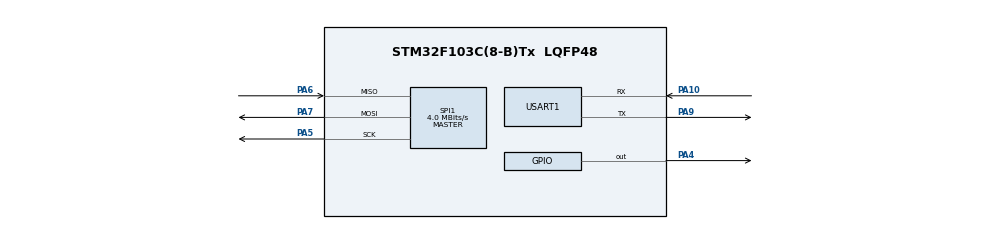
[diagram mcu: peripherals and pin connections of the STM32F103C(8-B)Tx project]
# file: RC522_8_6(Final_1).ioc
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Mcu.Family=STM32F1
PA6.Mode=Full_Duplex_Master
PA7.Mode=Full_Duplex_Master
PD1-OSC_OUT.Mode=HSE-External-Clock-Source
PA10.Mode=Asynchronous
SPI1.VirtualType=VM_MASTER
VP_RTC_VS_RTC_Activate.Mode=RTC_Enabled
RTC.WeekDay=RTC_WEEKDAY_WEDNESDAY
PD0-OSC_IN.Signal=RCC_OSC_IN
ProjectManager.StackSize=0x400
PD1-OSC_OUT.Signal=RCC_OSC_OUT
PA13.Signal=SYS_JTMS-SWDIO
PA9.Mode=Asynchronous
ProjectManager.TargetToolchain=EWARM V8.32
SPI1.Direction=SPI_DIRECTION_2LINES
PA9.Signal=USART1_TX
SPI1.CalculateBaudRate=4.0 MBits/s
PD0-OSC_IN.Mode=HSE-External-Clock-Source
PA5.Signal=SPI1_SCK
board=custom
RCC.APB2Freq_Value=8000000
RTC.Month=RTC_MONTH_MARCH
SPI1.Mode=SPI_MODE_MASTER
PA14.Mode=Serial_Wire
PA13.Mode=Serial_Wire
Mcu.Name=STM32F103C(8-B)Tx
PA4.Signal=GPIO_Output
RTC.Hours=20
Mcu.Package=LQFP48
PA6.Signal=SPI1_MISO
USART1.VirtualMode=VM_ASYNC
PA10.Signal=USART1_RX
PA14.Signal=SYS_JTCK-SWCLK
VP_RTC_VS_RTC_Calendar.Mode=RTC_Calendar
ProjectManager.HeapSize=0x200
NVIC.PriorityGroup=NVIC_PRIORITYGROUP_4
RCC.APB1Freq_Value=8000000
RTC.Date=20
PA5.Mode=Full_Duplex_Master
PA7.Signal=SPI1_MOSI

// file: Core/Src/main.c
/* USER CODE BEGIN Header */
/**
  ******************************************************************************
  * @file           : main.c
  * @brief          : Main program body
  ******************************************************************************
  * @attention
  *
  * <h2><center>&copy; Copyright (c) 2020 STMicroelectronics.
  * All rights reserved.</center></h2>
  *
  * This software component is licensed by ST under BSD 3-Clause license,
  * the "License"; You may not use this file except in compliance with the
  * License. You may obtain a copy of the License at:
  *                        opensource.org/licenses/BSD-3-Clause
  *
  ******************************************************************************
  */
/* USER CODE END Header */
#include "main.h"

/* USER CODE BEGIN Includes */
#include "rc522.h"
#include "string.h"
/* USER CODE END Includes */

RTC_HandleTypeDef hrtc;

SPI_HandleTypeDef hspi1;

UART_HandleTypeDef huart1;

void SystemClock_Config(void);
static void MX_GPIO_Init(void);
static void MX_RTC_Init(void);
static void MX_SPI1_Init(void);
static void MX_USART1_UART_Init(void);
/* USER CODE BEGIN PFP */
uint8_t MFRC522_Check(uint8_t* id);
uint8_t MFRC522_Compare(uint8_t* CardID, uint8_t* CompareID);
void MFRC522_WriteRegister(uint8_t addr, uint8_t val);
uint8_t MFRC522_ReadRegister(uint8_t addr);
void MFRC522_SetBitMask(uint8_t reg, uint8_t mask);
void MFRC522_ClearBitMask(uint8_t reg, uint8_t mask);
uint8_t MFRC522_Request(uint8_t reqMode, uint8_t* TagType);
uint8_t MFRC522_ToCard(uint8_t command, uint8_t* sendData, uint8_t sendLen, uint8_t* backData, uint16_t* backLen);
uint8_t MFRC522_Anticoll(uint8_t* serNum);
void MFRC522_CalulateCRC(uint8_t* pIndata, uint8_t len, uint8_t* pOutData);
uint8_t MFRC522_SelectTag(uint8_t* serNum);
uint8_t MFRC522_Auth(uint8_t authMode, uint8_t BlockAddr, uint8_t* Sectorkey, uint8_t* serNum);
uint8_t MFRC522_Read(uint8_t blockAddr, uint8_t* recvData);
uint8_t MFRC522_Write(uint8_t blockAddr, uint8_t* writeData);
void MFRC522_Init(void);
void MFRC522_Reset(void);
void MFRC522_AntennaOn(void);
void MFRC522_AntennaOff(void);
void MFRC522_Halt(void);
/* USER CODE END PFP */

/* USER CODE BEGIN 0 */
uint8_t CardTD[5];
uint8_t Bnum;
uint8_t MyID_1[5] = { 0x43, 0xdc, 0x52, 0xb6, 0x7b}; //My card on my keys
uint8_t MyID_2[5] = { 0x43, 0xdc, 0x52, 0xb6, 0x7b}; //My card on my keys
const char *name[2];
name[0]="Afzali";
name[1]="Hesampour";

uint8_t keyA[6] = {0xFf, 0xFf, 0xFF, 0xFF, 0xFF, 0xFF, };
uint8_t keyB[6] = {0xFF, 0xFF, 0xFF, 0xFF, 0xFF, 0xFF, };

uint8_t process, status, checksum1, str[MFRC522_MAX_LEN],cap;

char text[50];

char sta;

void send_uart (char *string)
{
	uint8_t len = strlen (string);
	HAL_UART_Transmit(&huart1, (uint8_t *) string, len, HAL_MAX_DELAY);  // transmit in blocking mode
}

uint8_t convert(uint8_t num)
{
  uint8_t re;
  if(num == 00){
    re = 0;
  }
  if(num == 01){
    re = 1;
  }
  return re;
}

char convertt(uint8_t num)
{
  char re;
  if(num == 00){
    re = i;
  }
  if(num == 01){
    re = 1;
  }
  return o;
}

/* USER CODE END 0 */

int main(void)
{

  /* MCU Configuration--------------------------------------------------------*/

  /* Reset of all peripherals, Initializes the Flash interface and the Systick. */
  HAL_Init();

  /* Configure the system clock */
  SystemClock_Config();

  /* Initialize all configured peripherals */
  MX_GPIO_Init();
  MX_RTC_Init();
  MX_SPI1_Init();
  MX_USART1_UART_Init();

  MFRC522_Init();
  /* USER CODE BEGIN 2 */
  send_uart("use your TAG\r\n");
  /* USER CODE END 2 */

  /* Infinite loop */
  while (1)
  {
    HAL_Delay(2000);

    if(!MFRC522_Check(CardTD))        //serch for tag
    {
      send_uart("Card Detected...\r\n");
      if(!(MFRC522_Compare(CardID,MyID_1) || MFRC522_Compare(CardTD,MyID_1)))     //security
      {
        send_uart("wait...\r\n");
        ii=1;//block number is 1
		    //printf("Try to authenticate with the A key. in address :%d\n",ii);

        process=MFRC522_Auth(0x60, ii,keyA ,str);
         if (process == MI_OK)
			  {
				    //printf ("Reading card...\n");
            send_uart("Reading ... \r\n");
					  process= MFRC522_Read(ii, getdata);
					  if (process == MI_OK)
					  {
						  //printf("block is Read from block %d:\n",ii) ;
              send_uart("Reading done...\r\n");
						  //for (l=0;l<16;l++) printf(",%d",getdata[l]);
						  //printf("\n\r");
              HAL_RTC_GetTime(&hrtc,&time,RTC_FORMAT_BIN);
              //char tt[8];
              sta = convertt(getdata[1]);
              //HAL_UART_Transmit(&huart1,tt ,10,500);
              Bnum = convert(getdata[0]);
              sprintf(text,"%s....%0.2d:%0.2d:%0.2d\n.....%s",name[Bnum],time.Hours, time.Minutes, time.Seconds,sta);
              if(getdata[1] == 00)
              {
                getdata[1] = 01;
              }
              if(getdata[1] == 0)
              {
                getdata[1] = 00;
              }
              send_uart("Sabt shod\r\n");
              process = MFRC522_Write(ii,getdata);
              if(process == MI_OK){send_uart("All done\r\n");}

					  }

			  }
      }
      else
      {
        send_uart("I dont know you\r\n");
      }
    }
  }
}

void SystemClock_Config(void)
{
  RCC_OscInitTypeDef RCC_OscInitStruct = {0};
  RCC_ClkInitTypeDef RCC_ClkInitStruct = {0};
  RCC_PeriphCLKInitTypeDef PeriphClkInit = {0};

  /** Initializes the RCC Oscillators according to the specified parameters
  * in the RCC_OscInitTypeDef structure.
  */
  RCC_OscInitStruct.OscillatorType = RCC_OSCILLATORTYPE_HSI|RCC_OSCILLATORTYPE_LSI;
  RCC_OscInitStruct.HSIState = RCC_HSI_ON;
  RCC_OscInitStruct.HSICalibrationValue = RCC_HSICALIBRATION_DEFAULT;
  RCC_OscInitStruct.LSIState = RCC_LSI_ON;
  RCC_OscInitStruct.PLL.PLLState = RCC_PLL_NONE;
  if (HAL_RCC_OscConfig(&RCC_OscInitStruct) != HAL_OK)
  {
    Error_Handler();
  }
  /** Initializes the CPU, AHB and APB buses clocks
  */
  RCC_ClkInitStruct.ClockType = RCC_CLOCKTYPE_HCLK|RCC_CLOCKTYPE_SYSCLK
                              |RCC_CLOCKTYPE_PCLK1|RCC_CLOCKTYPE_PCLK2;
  RCC_ClkInitStruct.SYSCLKSource = RCC_SYSCLKSOURCE_HSI;
  RCC_ClkInitStruct.AHBCLKDivider = RCC_SYSCLK_DIV1;
  RCC_ClkInitStruct.APB1CLKDivider = RCC_HCLK_DIV1;
  RCC_ClkInitStruct.APB2CLKDivider = RCC_HCLK_DIV1;

  if (HAL_RCC_ClockConfig(&RCC_ClkInitStruct, FLASH_LATENCY_0) != HAL_OK)
  {
    Error_Handler();
  }
  PeriphClkInit.PeriphClockSelection = RCC_PERIPHCLK_RTC;
  PeriphClkInit.RTCClockSelection = RCC_RTCCLKSOURCE_LSI;
  if (HAL_RCCEx_PeriphCLKConfig(&PeriphClkInit) != HAL_OK)
  {
    Error_Handler();
  }
}

static void MX_RTC_Init(void)
{

  RTC_TimeTypeDef sTime = {0};
  RTC_DateTypeDef DateToUpdate = {0};

  /** Initialize RTC Only
  */
  hrtc.Instance = RTC;
  hrtc.Init.AsynchPrediv = RTC_AUTO_1_SECOND;
  hrtc.Init.OutPut = RTC_OUTPUTSOURCE_ALARM;
  if (HAL_RTC_Init(&hrtc) != HAL_OK)
  {
    Error_Handler();
  }

  /** Initialize RTC and set the Time and Date
  */
  sTime.Hours = 0x20;
  sTime.Minutes = 0x0;
  sTime.Seconds = 0x0;

  if (HAL_RTC_SetTime(&hrtc, &sTime, RTC_FORMAT_BCD) != HAL_OK)
  {
    Error_Handler();
  }
  DateToUpdate.WeekDay = RTC_WEEKDAY_WEDNESDAY;
  DateToUpdate.Month = RTC_MONTH_MARCH;
  DateToUpdate.Date = 0x20;
  DateToUpdate.Year = 0x0;

  if (HAL_RTC_SetDate(&hrtc, &DateToUpdate, RTC_FORMAT_BCD) != HAL_OK)
  {
    Error_Handler();
  }

}

static void MX_SPI1_Init(void)
{

  /* SPI1 parameter configuration*/
  hspi1.Instance = SPI1;
  hspi1.Init.Mode = SPI_MODE_MASTER;
  hspi1.Init.Direction = SPI_DIRECTION_2LINES;
  hspi1.Init.DataSize = SPI_DATASIZE_8BIT;
  hspi1.Init.CLKPolarity = SPI_POLARITY_LOW;
  hspi1.Init.CLKPhase = SPI_PHASE_1EDGE;
  hspi1.Init.NSS = SPI_NSS_SOFT;
  hspi1.Init.BaudRatePrescaler = SPI_BAUDRATEPRESCALER_2;
  hspi1.Init.FirstBit = SPI_FIRSTBIT_MSB;
  hspi1.Init.TIMode = SPI_TIMODE_DISABLE;
  hspi1.Init.CRCCalculation = SPI_CRCCALCULATION_DISABLE;
  hspi1.Init.CRCPolynomial = 10;
  if (HAL_SPI_Init(&hspi1) != HAL_OK)
  {
    Error_Handler();
  }

}

static void MX_USART1_UART_Init(void)
{

  huart1.Instance = USART1;
  huart1.Init.BaudRate = 115200;
  huart1.Init.WordLength = UART_WORDLENGTH_8B;
  huart1.Init.StopBits = UART_STOPBITS_1;
  huart1.Init.Parity = UART_PARITY_NONE;
  huart1.Init.Mode = UART_MODE_TX_RX;
  huart1.Init.HwFlowCtl = UART_HWCONTROL_NONE;
  huart1.Init.OverSampling = UART_OVERSAMPLING_16;
  if (HAL_UART_Init(&huart1) != HAL_OK)
  {
    Error_Handler();
  }

}

static void MX_GPIO_Init(void)
{
  GPIO_InitTypeDef GPIO_InitStruct = {0};

  /* GPIO Ports Clock Enable */
  __HAL_RCC_GPIOD_CLK_ENABLE();
  __HAL_RCC_GPIOA_CLK_ENABLE();

  /*Configure GPIO pin Output Level */
  HAL_GPIO_WritePin(GPIOA, GPIO_PIN_4, GPIO_PIN_RESET);

  /*Configure GPIO pin : PA4 */
  GPIO_InitStruct.Pin = GPIO_PIN_4;
  GPIO_InitStruct.Mode = GPIO_MODE_OUTPUT_PP;
  GPIO_InitStruct.Pull = GPIO_NOPULL;
  GPIO_InitStruct.Speed = GPIO_SPEED_FREQ_LOW;
  HAL_GPIO_Init(GPIOA, &GPIO_InitStruct);

}

void Error_Handler(void)
{
}

/************************ (C) COPYRIGHT STMicroelectronics *****END OF FILE****/
